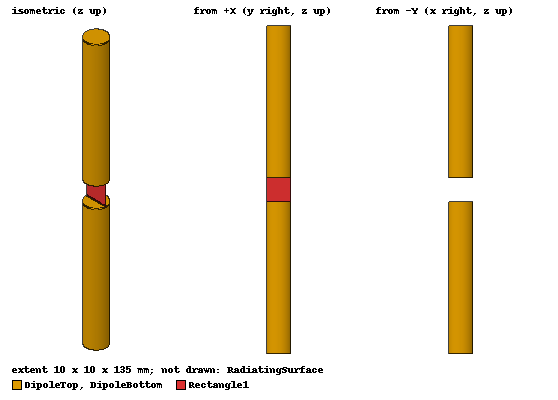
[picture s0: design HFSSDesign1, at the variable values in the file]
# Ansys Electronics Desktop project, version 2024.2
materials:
  vacuum: permittivity=1
  copper: permeability=0.999991 conductivity=58000000

design HFSSDesign1 (HFSS, HFSS Modal Network, model units mm)
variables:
  L = 62.5mm
  D = 10mm
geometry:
  DipoleTop [copper] = cylinder(axis=Z, base_centre=(0mm, 0mm, -L-5mm), radius=5mm, height=L)
  DipoleBottom [copper] = cylinder(axis=Z, base_centre=(0mm, 0mm, 5mm), radius=5mm, height=L)
  Rectangle1 = rectangle(corner=(0mm, -D/2, -D/2), y_size=D, z_size=D)
  RadiatingSurface [vacuum] = region(absolute_offset=41.666667mm on all sides)
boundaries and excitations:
  Open1: Radiation Objects=RadiatingSurface
  LumpedPort: Lumped Port Objects=Rectangle1 LumpedPortType=Default Modes{Mode1{IntLine{(0, 0, 5) -> (0, 0, -5)} CharImp=Zpi RenormImp=50ohm}} Impedance=50ohm
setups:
  Setup1: HfssDriven Frequency=2.4GHz MaxDeltaS=0.02 MaximumPasses=6 MinimumPasses=1 MinimumConvergedPasses=1 PercentRefinement=30 BasisOrder=1 PortAccuracy=2 DrivenSolverType="Direct Solver"
    sweep Sweep: 2.3GHz to 2.5GHz, 20 points; Type=Interpolating SaveFields InterpTolerance=0.5 InterpMaxSolns=250 InterpUsePortImped=false PassivityErrorTolerance=0.0001
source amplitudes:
  LumpedPort:1: 1W 0deg
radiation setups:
  3D: Infinite Sphere Theta=0deg..180deg step 2deg Phi=-180deg..180deg step 2deg
  Elevation: Infinite Sphere Theta=-180deg..180deg step 1deg Phi=0deg..90deg step 90deg
  Azimuth: Infinite Sphere Theta=90deg..90deg step 0deg Phi=-180deg..180deg step 1deg
